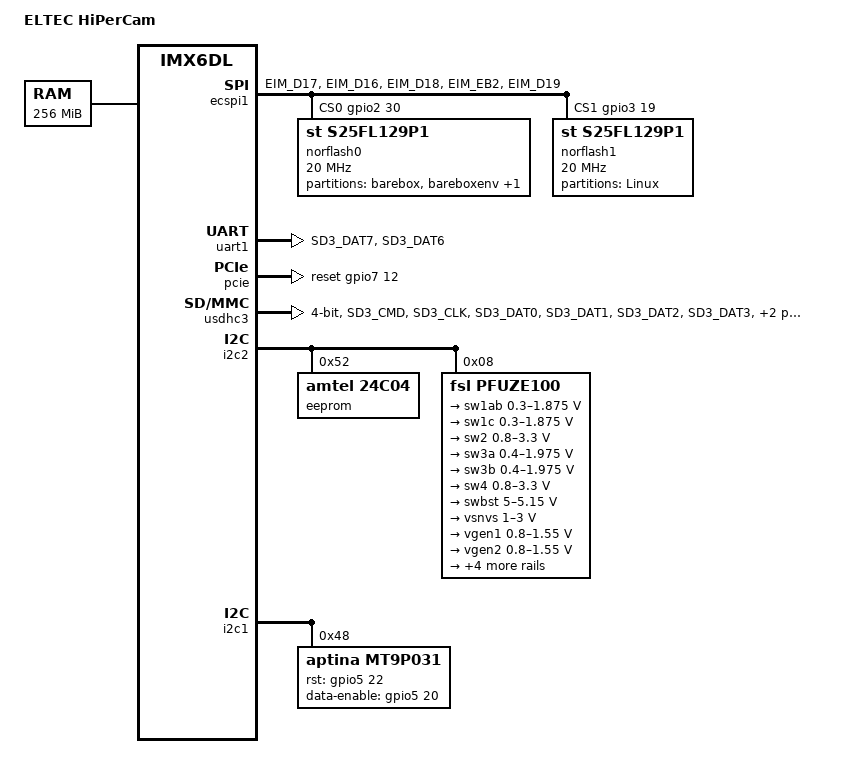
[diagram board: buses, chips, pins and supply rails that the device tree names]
/dts-v1/;

#include <arm/imx6dl.dtsi>
#include "imx6dl.dtsi"

/ {
	model = "ELTEC HiPerCam";
	compatible = "eltec,hipercam-rev01", "fsl,imx6dl";

	memory {
		reg = <0x10000000 0x10000000>;
	};

	chosen {
		stdout-path = &uart1;

		environment {
			compatible = "barebox,environment";
			device-path = &environment_nor0;
		};
	};
};

&ecspi1 {
	status = "okay";
	fsl,spi-num-chipselects = <2>;
	pinctrl-names = "default";
	cs-gpios = <&gpio2 30 0 &gpio3 19 0>;
	pinctrl-0 = <&pinctrl_ecspi1>;

	norflash0: s25fl129p1@0 {
		#address-cells = <0x1>;
		#size-cells = <0x1>;
		compatible = "st,s25fl129p1";
		spi-max-frequency = <20000000>;
		reg = <0x0>;

		partition@0 {
			label = "barebox";
			reg = <0x0 0xe0000>;
		};

		environment_nor0: partition@e0000 {
			label = "bareboxenv";
			reg = <0xe0000 0x20000>;
		};

		partition@100000 {
			label = "persistent";
			reg = <0x100000 0xf00000>;
		};
	};

	norflash1: s25fl129p1@1 {
		#address-cells = <0x1>;
		#size-cells = <0x1>;
		compatible = "st,s25fl129p1";
		spi-max-frequency = <20000000>;
		reg = <0x1>;

		partition@0 {
			label = "Linux";
			reg = <0x0 0x1000000>;
		};
	};
};

&uart1 {
	status = "okay";
	pinctrl-names = "default";
	pinctrl-0 = <&pinctrl_uart1>;
};

&pcie {
	status = "okay";
	reset-gpio = <&gpio7 12 0x0>;
};

&usdhc3 {
	bus-width = <0x4>;
	status = "okay";
	pinctrl-names = "default";
	pinctrl-0 = <&pinctrl_usdhc3>;
	cd-gpios = <&gpio2 2 0>;
	wp-gpios = <&gpio2 1 0>;
	no-1-8-v;
};

&i2c2 {
	status = "okay";
	pinctrl-names = "default";
	pinctrl-0 = <0x20>;

	eeprom@0x52 {
		compatible = "amtel,24c04";
		reg = <0x52>;
		pagesize = <0x10>;
	};

	pfuze100@08 {
		compatible = "fsl,pfuze100";
		reg = <0x8>;

		regulators {
			sw1ab {
				regulator-min-microvolt = <0x493e0>;
				regulator-max-microvolt = <0x1c9c38>;
				regulator-boot-on;
				regulator-always-on;
				regulator-ramp-delay = <0x186a>;
			};

			sw1c {
				regulator-min-microvolt = <0x493e0>;
				regulator-max-microvolt = <0x1c9c38>;
				regulator-boot-on;
				regulator-always-on;
				regulator-ramp-delay = <0x186a>;
			};

			sw2 {
				regulator-min-microvolt = <0xc3500>;
				regulator-max-microvolt = <0x325aa0>;
				regulator-boot-on;
				regulator-always-on;
			};

			sw3a {
				regulator-min-microvolt = <0x61a80>;
				regulator-max-microvolt = <0x1e22d8>;
				regulator-boot-on;
				regulator-always-on;
			};

			sw3b {
				regulator-min-microvolt = <0x61a80>;
				regulator-max-microvolt = <0x1e22d8>;
				regulator-boot-on;
				regulator-always-on;
			};

			sw4 {
				regulator-min-microvolt = <0xc3500>;
				regulator-max-microvolt = <0x325aa0>;
			};

			swbst {
				regulator-min-microvolt = <0x4c4b40>;
				regulator-max-microvolt = <0x4e9530>;
			};

			vsnvs {
				regulator-min-microvolt = <0xf4240>;
				regulator-max-microvolt = <0x2dc6c0>;
				regulator-boot-on;
				regulator-always-on;
			};

			vrefddr {
				regulator-boot-on;
				regulator-always-on;
			};

			vgen1 {
				regulator-min-microvolt = <0xc3500>;
				regulator-max-microvolt = <0x17a6b0>;
			};

			vgen2 {
				regulator-min-microvolt = <0xc3500>;
				regulator-max-microvolt = <0x17a6b0>;
			};

			vgen3 {
				regulator-min-microvolt = <0x1b7740>;
				regulator-max-microvolt = <0x325aa0>;
			};

			vgen4 {
				regulator-min-microvolt = <0x1b7740>;
				regulator-max-microvolt = <0x325aa0>;
				regulator-always-on;
			};

			vgen5 {
				regulator-min-microvolt = <0x1b7740>;
				regulator-max-microvolt = <0x325aa0>;
				regulator-always-on;
			};

			vgen6 {
				regulator-min-microvolt = <0x1b7740>;
				regulator-max-microvolt = <0x325aa0>;
				regulator-always-on;
			};
		};
	};
};

&i2c1 {
	status = "okay";
	pinctrl-names = "default";
	pinctrl-0 = <0x1d>;

	mt9p031@48 {
		compatible = "aptina,mt9p031";
		reg = <0x48>;
		status = "okay";
		pinctrl-names = "default";
		pinctrl-0 = <&pinctrl_cam>;
		csi_id = <0x0>;
		clocks = <&clks 201>;
		clock-names = "csi_mclk";
		rst-gpios = <&gpio5 22 0>;
		data-enable-gpios = <&gpio5 20 0x0>;
		mclk = <12000000>;
		mclk_source = <0>;
	};
};

&iomuxc {
	pinctrl-names = "default";
	pinctrl-0 = <&pinctrl_hog>;

	imx6dl-eltec-hipercam {
		pinctrl_ecspi1: ecspi1 {
			fsl,pins = <MX6QDL_PAD_EIM_D17__ECSPI1_MISO 0x100b1
				MX6QDL_PAD_EIM_D16__ECSPI1_SCLK 0x100b1
				MX6QDL_PAD_EIM_D18__ECSPI1_MOSI 0x100b1
				MX6QDL_PAD_EIM_EB2__GPIO2_IO30 0x100b1
				MX6QDL_PAD_EIM_D19__GPIO3_IO19 0x100b1
			>;
		};

		pinctrl_i2c1: i2c1 {
			fsl,pins = <MX6QDL_PAD_CSI0_DAT8__I2C1_SDA 0x4001b8b1
				MX6QDL_PAD_CSI0_DAT9__I2C1_SCL 0x4001b8b1
			>;
		};

		pinctrl_i2c2: i2c2 {
			fsl,pins = <MX6QDL_PAD_KEY_COL3__I2C2_SCL 0x4001b8b1
				MX6QDL_PAD_KEY_ROW3__I2C2_SDA 0x4001b8b1
			>;
		};

		pinctrl_i2c3: i2c3 {
			fsl,pins = <MX6QDL_PAD_GPIO_3__I2C3_SCL 0x4001b8b1
				MX6QDL_PAD_GPIO_6__I2C3_SDA 0x4001b8b1
			>;
		};

		pinctrl_pwm1: pwm1 {
			fsl,pins = <MX6QDL_PAD_SD1_DAT3__PWM1_OUT 0x1b0b1>;
		};

		pinctrl_uart1: uart1 {
			fsl,pins = <MX6QDL_PAD_SD3_DAT7__UART1_TX_DATA 0x1b0b1
				MX6QDL_PAD_SD3_DAT6__UART1_RX_DATA 0x1b0b1
			>;
		};

		pinctrl_usdhc3: usdhc3 {
			fsl,pins = <MX6QDL_PAD_SD3_CMD__SD3_CMD 0x17059
				MX6QDL_PAD_SD3_CLK__SD3_CLK 0x10059
				MX6QDL_PAD_SD3_DAT0__SD3_DATA0 0x17059
				MX6QDL_PAD_SD3_DAT1__SD3_DATA1 0x17059
				MX6QDL_PAD_SD3_DAT2__SD3_DATA2 0x17059
				MX6QDL_PAD_SD3_DAT3__SD3_DATA3 0x17059
			>;
		};

		pinctrl_hog: hog {
			fsl,pins = <MX6QDL_PAD_GPIO_4__GPIO1_IO04 0x80000000
				MX6QDL_PAD_GPIO_5__GPIO1_IO05 0x80000000
				MX6QDL_PAD_NANDF_D0__GPIO2_IO00 0x80000000
				MX6QDL_PAD_NANDF_D1__GPIO2_IO01 0x80000000
				MX6QDL_PAD_NANDF_D2__GPIO2_IO02 0x80000000
				MX6QDL_PAD_NANDF_D3__GPIO2_IO03 0x80000000
				MX6QDL_PAD_NANDF_ALE__GPIO6_IO08 0x80000000
				MX6QDL_PAD_NANDF_CLE__GPIO6_IO07 0x80000000
				MX6QDL_PAD_GPIO_0__CCM_CLKO1 0x130b0
				MX6QDL_PAD_NANDF_CS2__GPIO6_IO15 0x80000000
				MX6QDL_PAD_NANDF_CS3__GPIO6_IO16 0x80000000
				MX6QDL_PAD_EIM_D26__GPIO3_IO26 0x80000000
				MX6QDL_PAD_EIM_CS1__GPIO2_IO24 0x80000000
				MX6QDL_PAD_ENET_RXD0__GPIO1_IO27 0x80000000
				MX6QDL_PAD_EIM_A25__GPIO5_IO02 0x80000000
				MX6QDL_PAD_EIM_D23__GPIO3_IO23 0x80000000
				MX6QDL_PAD_ENET_TXD1__GPIO1_IO29 0x80000000
				MX6QDL_PAD_EIM_D22__GPIO3_IO22 0x80000000
				MX6QDL_PAD_NANDF_CS0__GPIO6_IO11 0x80000000
				MX6QDL_PAD_NANDF_CS1__GPIO6_IO14 0x80000000
				MX6QDL_PAD_EIM_EB3__GPIO2_IO31 0x80000000
				MX6QDL_PAD_EIM_DA9__GPIO3_IO09 0x80000000
				MX6QDL_PAD_GPIO_4__GPIO1_IO04 0x80000000
				MX6QDL_PAD_GPIO_5__GPIO1_IO05 0x80000000
				MX6QDL_PAD_EIM_D29__GPIO3_IO29 0x80000000
				MX6QDL_PAD_SD4_DAT6__GPIO2_IO14 0x80000000
				MX6QDL_PAD_GPIO_9__GPIO1_IO09 0x80000000
				MX6QDL_PAD_GPIO_1__WDOG2_B 0x80000000
				MX6QDL_PAD_GPIO_17__GPIO7_IO12 0x80000000
			>;
		};

		pinctrl_cam: cam {
			fsl,pins = <MX6QDL_PAD_CSI0_DAT4__GPIO5_IO22 0x80000000
				MX6QDL_PAD_CSI0_DAT10__IPU1_CSI0_DATA10 0x80000000
				MX6QDL_PAD_CSI0_DAT11__IPU1_CSI0_DATA11 0x80000000
				MX6QDL_PAD_CSI0_DAT12__IPU1_CSI0_DATA12 0x80000000
				MX6QDL_PAD_CSI0_DAT13__IPU1_CSI0_DATA13 0x80000000
				MX6QDL_PAD_CSI0_DAT14__IPU1_CSI0_DATA14 0x80000000
				MX6QDL_PAD_CSI0_DAT15__IPU1_CSI0_DATA15 0x80000000
				MX6QDL_PAD_CSI0_DAT16__IPU1_CSI0_DATA16 0x80000000
				MX6QDL_PAD_CSI0_DAT17__IPU1_CSI0_DATA17 0x80000000
				MX6QDL_PAD_CSI0_DAT18__IPU1_CSI0_DATA18 0x80000000
				MX6QDL_PAD_CSI0_DAT19__IPU1_CSI0_DATA19 0x80000000
				MX6QDL_PAD_CSI0_DATA_EN__GPIO5_IO20 0x80000000
				MX6QDL_PAD_CSI0_PIXCLK__IPU1_CSI0_PIXCLK 0x80000000
				MX6QDL_PAD_CSI0_MCLK__IPU1_CSI0_HSYNC 0x80000000
				MX6QDL_PAD_CSI0_VSYNC__IPU1_CSI0_VSYNC 0x80000000
			>;
		};
	};
};
